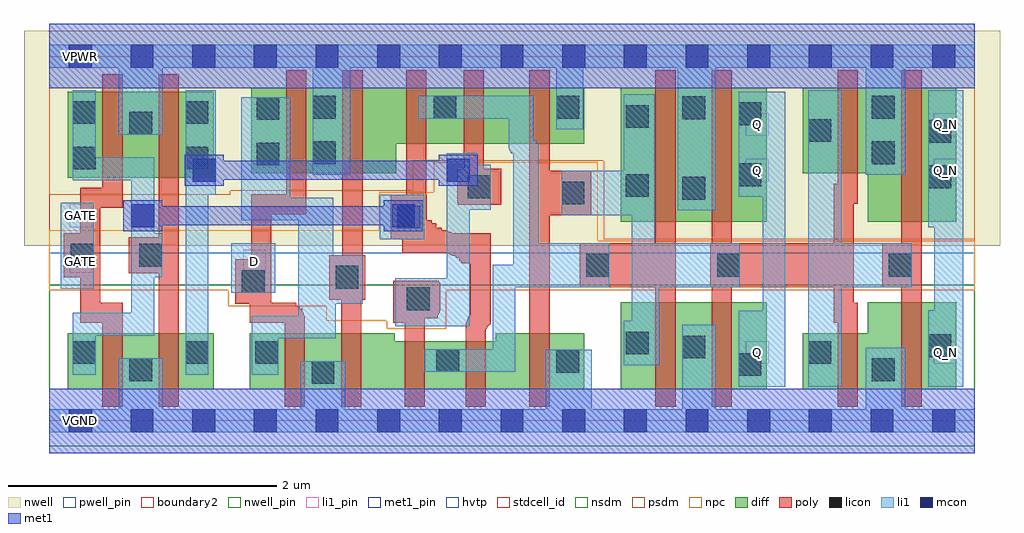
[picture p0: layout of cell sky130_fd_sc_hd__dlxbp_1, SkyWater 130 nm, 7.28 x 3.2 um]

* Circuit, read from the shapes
.subckt sky130_fd_sc_hd__dlxbp_1 D GATE Q Q_N VGND VNB VPB VPWR
XM1 VGND GATE n1 VNB sky130_fd_pr__nfet_01v8 w=0.42 l=0.15
XM2 n2 n1 VGND VNB sky130_fd_pr__nfet_01v8 w=0.42 l=0.15
XM3 VGND D n3 VNB sky130_fd_pr__nfet_01v8 w=0.42 l=0.15
XM4 n4 n3 VGND VNB sky130_fd_pr__nfet_01v8 w=0.42 l=0.15
XM5 n5 n2 n4 VNB sky130_fd_pr__nfet_01v8 w=0.36 l=0.15
XM6 n6 n1 n5 VNB sky130_fd_pr__nfet_01v8 w=0.36 l=0.15
XM7 VGND n7 n6 VNB sky130_fd_pr__nfet_01v8 w=0.42 l=0.15
XM8 VGND n5 n7 VNB sky130_fd_pr__nfet_01v8 w=0.65 l=0.15
XM9 Q n7 VGND VNB sky130_fd_pr__nfet_01v8 w=0.65 l=0.15
XM10 VGND n7 n8 VNB sky130_fd_pr__nfet_01v8 w=0.42 l=0.15
XM11 Q_N n8 VGND VNB sky130_fd_pr__nfet_01v8 w=0.65 l=0.15
XM12 VPWR GATE n1 VPB sky130_fd_pr__pfet_01v8_hvt w=0.64 l=0.15
XM13 n2 n1 VPWR VPB sky130_fd_pr__pfet_01v8_hvt w=0.64 l=0.15
XM14 VPWR D n3 VPB sky130_fd_pr__pfet_01v8_hvt w=0.64 l=0.15
XM15 n9 n3 VPWR VPB sky130_fd_pr__pfet_01v8_hvt w=0.64 l=0.15
XM16 n5 n1 n9 VPB sky130_fd_pr__pfet_01v8_hvt w=0.42 l=0.15
XM17 n10 n2 n5 VPB sky130_fd_pr__pfet_01v8_hvt w=0.42 l=0.15
XM18 VPWR n7 n10 VPB sky130_fd_pr__pfet_01v8_hvt w=0.42 l=0.15
XM19 VPWR n5 n7 VPB sky130_fd_pr__pfet_01v8_hvt w=1 l=0.15
XM20 Q n7 VPWR VPB sky130_fd_pr__pfet_01v8_hvt w=1 l=0.15
XM21 VPWR n7 n8 VPB sky130_fd_pr__pfet_01v8_hvt w=0.64 l=0.15
XM22 Q_N n8 VPWR VPB sky130_fd_pr__pfet_01v8_hvt w=1 l=0.15
.ends

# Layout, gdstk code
import gdstk
lib = gdstk.Library(unit=1e-6, precision=1e-09)
def R(c, l, rs):  # rectangles x0, y0, x1, y1
    for r in rs: c.add(gdstk.rectangle(r[:2], r[2:], *l))
def A(c, l, x, y, w, h, nx, ny, dx, dy):  # array of equal rectangles
    R(c, l, [(x+i*dx, y+j*dy, x+i*dx+w, y+j*dy+h) for i in range(nx) for j in range(ny)])
def P(c, l, *ps):  # polygons
    for p in ps: c.add(gdstk.Polygon(p, *l))
nwell_pin = (64, 16)
nwell = (64, 20)
diff = (65, 20)
poly = (66, 20)
licon = (66, 44)
li1_pin = (67, 16)
li1 = (67, 20)
mcon = (67, 44)
met1_pin = (68, 16)
met1 = (68, 20)
hvtp = (78, 44)
stdcell_id = (81, 4)
nsdm = (93, 44)
psdm = (94, 20)
npc = (95, 20)
pwell_pin = (122, 16)
boundary2 = (236, 0)

sky130_fd_sc_hd__dlxbp_1 = lib.new_cell('sky130_fd_sc_hd__dlxbp_1')
R(sky130_fd_sc_hd__dlxbp_1, nwell_pin, [(0.15,2.635,0.32,2.805), (0.15,2.635,0.32,2.805)])
R(sky130_fd_sc_hd__dlxbp_1, nwell, [(-0.19,1.305,7.09,2.91)])
R(sky130_fd_sc_hd__dlxbp_1, diff, [(0.135,0.235,1.225,0.655), (4.26,0.235,5.35,0.885), (4.26,1.485,5.35,2.485), (0.135,1.815,1.225,2.455)])
P(sky130_fd_sc_hd__dlxbp_1, diff, [(6.765,0.885),(6.105,0.885),(6.105,0.655),(5.62,0.655),(5.62,0.235),(6.765,0.235)],
  [(3.99,2.485),(1.505,2.485),(1.505,1.845),(2.585,1.845),(2.585,2.065),(3.99,2.065)],
  [(6.765,2.485),(5.62,2.485),(5.62,1.845),(6.105,1.845),(6.105,1.485),(6.765,1.485)],
  [(3.99,0.655),(3.33,0.655),(3.33,0.595),(2.575,0.595),(2.575,0.655),(1.495,0.655),(1.495,0.235),(3.99,0.235)])
P(sky130_fd_sc_hd__dlxbp_1, poly, [(0.545,0.88),(0.38,0.88),(0.38,1.59),(0.545,1.59),(0.545,2.585),(0.395,2.585),(0.395,1.74),(0.23,1.74),(0.23,1.4),(0.105,1.4),(0.105,1.07),(0.23,1.07),(0.23,0.73),(0.395,0.73),(0.395,0.105),(0.545,0.105)],
  [(0.965,2.585),(0.815,2.585),(0.815,1.37),(0.59,1.37),(0.59,1.1),(0.815,1.1),(0.815,0.105),(0.965,0.105)],
  [(1.915,2.615),(1.765,2.615),(1.765,1.69),(1.505,1.69),(1.505,1.205),(1.385,1.205),(1.385,0.875),(1.495,0.875),(1.495,0.73),(1.755,0.73),(1.755,0.105),(1.905,0.105),(1.905,0.785),(1.895,0.785),(1.895,0.805),(1.885,0.805),(1.885,0.835),(1.865,0.835),(1.865,0.855),(1.84,0.855),(1.84,0.88),(1.655,0.88),(1.655,1.54),(1.915,1.54)],
  [(2.355,1.235),(2.335,1.235),(2.335,2.615),(2.185,2.615),(2.185,1.235),(2.085,1.235),(2.085,0.905),(2.175,0.905),(2.175,0.105),(2.325,0.105),(2.325,0.905),(2.355,0.905)],
  [(2.915,1.025),(2.91,1.025),(2.91,1.035),(2.905,1.035),(2.905,1.045),(2.565,1.045),(2.565,0.73),(2.65,0.73),(2.65,0.105),(2.8,0.105),(2.8,0.765),(2.895,0.765),(2.895,0.79),(2.905,0.79),(2.905,0.805),(2.91,0.805),(2.91,0.82),(2.915,0.82)],
  [(6.505,2.615),(6.355,2.615),(6.355,1.325),(6.21,1.325),(6.21,0.995),(6.355,0.995),(6.355,0.105),(6.505,0.105)],
  [(6.03,0.88),(6,0.88),(6,1.62),(6.03,1.62),(6.03,2.615),(5.88,2.615),(5.88,1.77),(5.85,1.77),(5.85,1.325),(5.09,1.325),(5.09,2.615),(4.94,2.615),(4.94,1.325),(4.93,1.325),(4.93,0.995),(4.94,0.995),(4.94,0.105),(5.09,0.105),(5.09,0.995),(5.85,0.995),(5.85,0.73),(5.88,0.73),(5.88,0.105),(6.03,0.105)],
  [(4.67,2.615),(4.52,2.615),(4.52,1.325),(3.955,1.325),(3.955,0.995),(4.52,0.995),(4.52,0.105),(4.67,0.105)],
  [(4.04,1.865),(3.73,1.865),(3.73,2.615),(3.58,2.615),(3.58,0.105),(3.73,0.105),(3.73,1.535),(4.04,1.535)],
  [(3.37,1.88),(3.24,1.88),(3.24,2.615),(3.09,2.615),(3.09,1.88),(3.04,1.88),(3.04,1.63),(3.045,1.63),(3.045,1.62),(3.05,1.62),(3.05,1.61),(3.37,1.61)],
  [(3.29,1.4),(3,1.4),(3,1.405),(2.985,1.405),(2.985,1.41),(2.97,1.41),(2.97,1.415),(2.96,1.415),(2.96,1.42),(2.925,1.42),(2.925,1.44),(2.885,1.44),(2.885,1.475),(2.85,1.475),(2.85,1.495),(2.815,1.495),(2.815,1.685),(2.81,1.685),(2.81,2.615),(2.66,2.615),(2.66,1.685),(2.545,1.685),(2.545,1.355),(2.63,1.355),(2.63,1.255),(2.955,1.255),(2.955,1.25),(2.97,1.25),(2.97,1.245),(2.985,1.245),(2.985,1.24),(2.995,1.24),(2.995,1.235),(3.005,1.235),(3.005,1.23),(3.03,1.23),(3.03,1.215),(3.055,1.215),(3.055,1.195),(3.07,1.195),(3.07,1.175),(3.14,1.175),(3.14,0.785),(3.135,0.785),(3.135,0.78),(3.125,0.78),(3.125,0.765),(3.12,0.765),(3.12,0.755),(3.115,0.755),(3.115,0.74),(3.11,0.74),(3.11,0.725),(3.105,0.725),(3.105,0.105),(3.255,0.105),(3.255,0.685),(3.26,0.685),(3.26,0.695),(3.265,0.695),(3.265,0.7),(3.27,0.7),(3.27,0.71),(3.275,0.71),(3.275,0.715),(3.285,0.715),(3.285,0.72),(3.29,0.72)])
R(sky130_fd_sc_hd__dlxbp_1, licon, [(1.955,0.275,2.125,0.445), (0.595,0.295,0.765,0.465), (6.135,0.295,6.305,0.465), (5.14,0.335,5.31,0.505), (3.78,0.36,3.95,0.53), (2.885,0.365,3.055,0.535), (0.175,0.425,0.345,0.595), (1.015,0.425,1.185,0.595), (1.535,0.425,1.705,0.595), (5.66,0.425,5.83,0.595), (4.72,0.465,4.89,0.635), (6.555,0.475,6.725,0.645), (4.3,0.495,4.47,0.665), (2.665,0.825,2.835,0.995), (1.435,0.955,1.605,1.125), (2.135,0.985,2.305,1.155), (4.005,1.075,4.175,1.245), (4.98,1.075,5.15,1.245), (6.26,1.075,6.43,1.245), (0.16,1.15,0.33,1.32), (0.67,1.15,0.84,1.32), (2.595,1.435,2.765,1.605), (3.82,1.615,3.99,1.785), (4.72,1.65,4.89,1.82), (3.12,1.66,3.29,1.83), (4.3,1.67,4.47,1.84), (6.555,1.735,6.725,1.905), (5.14,1.75,5.31,1.92), (0.175,1.875,0.345,2.045), (1.015,1.875,1.185,2.045), (1.545,1.905,1.715,2.075), (1.965,1.915,2.135,2.085), (6.135,1.915,6.305,2.085), (6.555,2.075,6.725,2.245), (5.66,2.08,5.83,2.25), (0.595,2.135,0.765,2.305), (4.3,2.185,4.47,2.355), (5.14,2.205,5.31,2.375), (0.175,2.215,0.345,2.385), (1.015,2.215,1.185,2.385), (1.545,2.245,1.715,2.415), (4.72,2.25,4.89,2.42), (1.965,2.255,2.135,2.425), (2.865,2.255,3.035,2.425), (3.78,2.255,3.95,2.425), (6.135,2.255,6.305,2.425)])
R(sky130_fd_sc_hd__dlxbp_1, li1_pin, [(5.195,0.425,5.365,0.595), (6.595,0.425,6.765,0.595), (0.15,1.105,0.32,1.275), (1.445,1.105,1.615,1.275), (0.15,1.445,0.32,1.615), (5.195,1.785,5.365,1.955), (6.595,1.785,6.765,1.955), (5.195,2.125,5.365,2.295), (6.595,2.125,6.765,2.295)])
R(sky130_fd_sc_hd__dlxbp_1, li1, [(1.355,0.955,1.685,1.325), (0.085,0.985,0.33,1.625), (2.465,1.355,2.795,1.685)])
P(sky130_fd_sc_hd__dlxbp_1, li1, [(6.9,0.085),(6.385,0.085),(6.385,0.545),(6.09,0.545),(6.09,0.085),(4.97,0.085),(4.97,0.715),(4.72,0.715),(4.72,0.085),(4.045,0.085),(4.045,0.53),(3.7,0.53),(3.7,0.085),(2.205,0.085),(2.205,0.445),(1.875,0.445),(1.875,0.085),(0.845,0.085),(0.845,0.465),(0.515,0.465),(0.515,0.085),(0,0.085),(0,-0.085),(6.9,-0.085)],
  [(0.84,1.4),(0.78,1.4),(0.78,1.965),(0.345,1.965),(0.345,2.465),(0.175,2.465),(0.175,1.795),(0.61,1.795),(0.61,0.805),(0.175,0.805),(0.175,0.345),(0.345,0.345),(0.345,0.635),(0.78,0.635),(0.78,1.07),(0.84,1.07)],
  [(1.24,2.465),(1.015,2.465),(1.015,0.345),(1.185,0.345),(1.185,1.685),(1.24,1.685)],
  [(2.335,1.235),(2.115,1.235),(2.115,1.665),(1.795,1.665),(1.795,2.415),(1.43,2.415),(1.43,1.495),(1.855,1.495),(1.855,0.785),(1.51,0.785),(1.51,0.345),(1.705,0.345),(1.705,0.615),(2.135,0.615),(2.135,0.875),(2.335,0.875)],
  [(3.29,1.91),(3.195,1.91),(3.195,1.995),(2.965,1.995),(2.965,1.065),(2.58,1.065),(2.58,0.705),(3.135,0.705),(3.135,1.575),(3.29,1.575)],
  [(6.9,2.805),(0,2.805),(0,2.635),(0.515,2.635),(0.515,2.135),(0.845,2.135),(0.845,2.635),(1.965,2.635),(1.965,1.835),(2.245,1.835),(2.245,2.635),(3.78,2.635),(3.78,2.175),(3.98,2.175),(3.98,2.635),(4.685,2.635),(4.685,1.57),(4.97,1.57),(4.97,2.635),(6.09,2.635),(6.09,1.835),(6.385,1.835),(6.385,2.635),(6.9,2.635)],
  [(6.815,2.465),(6.555,2.465),(6.555,1.445),(6.6,1.445),(6.6,0.825),(6.555,0.825),(6.555,0.255),(6.815,0.255)],
  [(4.175,1.325),(3.65,1.325),(3.65,2.065),(3.63,2.065),(3.63,2.09),(3.61,2.09),(3.61,2.425),(2.75,2.425),(2.75,2.255),(3.425,2.255),(3.425,2.035),(3.43,2.035),(3.43,2.02),(3.435,2.02),(3.435,2.01),(3.44,2.01),(3.44,1.995),(3.46,1.995),(3.46,1.165),(3.305,1.165),(3.305,0.535),(2.8,0.535),(2.8,0.365),(3.475,0.365),(3.475,0.995),(4.175,0.995)],
  [(5.15,1.325),(4.515,1.325),(4.515,2.435),(4.285,2.435),(4.285,1.865),(3.82,1.865),(3.82,1.535),(4.345,1.535),(4.345,0.745),(4.285,0.745),(4.285,0.415),(4.55,0.415),(4.55,0.995),(5.15,0.995)],
  [(5.49,2.455),(5.14,2.455),(5.14,1.67),(5.32,1.67),(5.32,0.82),(5.14,0.82),(5.14,0.255),(5.49,0.255)],
  [(6.43,1.325),(5.91,1.325),(5.91,2.465),(5.66,2.465),(5.66,0.255),(5.91,0.255),(5.91,0.995),(6.43,0.995)])
A(sky130_fd_sc_hd__dlxbp_1, mcon, 0.145, -0.085, 0.17, 0.17, 15, 2, 0.46, 2.72)
R(sky130_fd_sc_hd__dlxbp_1, mcon, [(0.61,1.445,0.78,1.615), (2.555,1.445,2.725,1.615), (1.07,1.785,1.24,1.955), (2.965,1.785,3.135,1.955)])
R(sky130_fd_sc_hd__dlxbp_1, met1_pin, [(0.15,-0.085,0.32,0.085), (0.15,2.635,0.32,2.805)])
P(sky130_fd_sc_hd__dlxbp_1, met1, [(2.785,1.645),(2.495,1.645),(2.495,1.6),(0.84,1.6),(0.84,1.645),(0.55,1.645),(0.55,1.415),(0.84,1.415),(0.84,1.46),(2.495,1.46),(2.495,1.415),(2.785,1.415)],
  [(3.195,1.985),(2.905,1.985),(2.905,1.94),(1.3,1.94),(1.3,1.985),(1.01,1.985),(1.01,1.755),(1.3,1.755),(1.3,1.8),(2.905,1.8),(2.905,1.755),(3.195,1.755)])
R(sky130_fd_sc_hd__dlxbp_1, hvtp, [(0,1.25,6.9,2.72)])
R(sky130_fd_sc_hd__dlxbp_1, stdcell_id, [(0,0,6.9,2.72)])
R(sky130_fd_sc_hd__dlxbp_1, nsdm, [(0,-0.19,6.9,1.015)])
P(sky130_fd_sc_hd__dlxbp_1, psdm, [(6.9,2.91),(0,2.91),(0,1.685),(1.35,1.685),(1.35,1.715),(2.715,1.715),(2.715,1.94),(4.135,1.94),(4.135,1.355),(6.9,1.355)])
P(sky130_fd_sc_hd__dlxbp_1, npc, [(6.9,1.345),(4.09,1.345),(4.09,1.93),(2.865,1.93),(2.865,1.705),(2.46,1.705),(2.46,1.42),(0,1.42),(0,0.975),(1.335,0.975),(1.335,0.855),(2.065,0.855),(2.065,0.745),(2.515,0.745),(2.515,0.685),(2.96,0.685),(2.96,0.975),(6.9,0.975)])
R(sky130_fd_sc_hd__dlxbp_1, pwell_pin, [(0.15,-0.085,0.32,0.085), (0.15,-0.085,0.32,0.085)])
R(sky130_fd_sc_hd__dlxbp_1, boundary2, [(0,0,6.9,2.72)])
sky130_fd_sc_hd__dlxbp_1.add(gdstk.FlexPath([(0,2.72),(6.9,2.72)], 0.48, ends="flush", simple_path=True, layer=68, datatype=20))  # met1
sky130_fd_sc_hd__dlxbp_1.add(gdstk.FlexPath([(0,0),(6.9,0)], 0.48, ends="flush", simple_path=True, layer=68, datatype=20))  # met1
sky130_fd_sc_hd__dlxbp_1.add(gdstk.Label('D', (1.53,1.19), layer=67, texttype=5))
sky130_fd_sc_hd__dlxbp_1.add(gdstk.Label('GATE', (0.23,1.19), layer=67, texttype=5))
sky130_fd_sc_hd__dlxbp_1.add(gdstk.Label('Q', (5.28,1.87), layer=67, texttype=5))
sky130_fd_sc_hd__dlxbp_1.add(gdstk.Label('GATE', (0.23,1.53), layer=67, texttype=5))
sky130_fd_sc_hd__dlxbp_1.add(gdstk.Label('Q', (5.28,2.21), layer=67, texttype=5))
sky130_fd_sc_hd__dlxbp_1.add(gdstk.Label('Q', (5.28,0.51), layer=67, texttype=5))
sky130_fd_sc_hd__dlxbp_1.add(gdstk.Label('Q_N', (6.68,2.21), layer=67, texttype=5))
sky130_fd_sc_hd__dlxbp_1.add(gdstk.Label('Q_N', (6.68,1.87), layer=67, texttype=5))
sky130_fd_sc_hd__dlxbp_1.add(gdstk.Label('Q_N', (6.68,0.51), layer=67, texttype=5))
sky130_fd_sc_hd__dlxbp_1.add(gdstk.Label('VGND', (0.23,0), layer=68, texttype=5))
sky130_fd_sc_hd__dlxbp_1.add(gdstk.Label('VPWR', (0.23,2.72), layer=68, texttype=5))
sky130_fd_sc_hd__dlxbp_1.add(gdstk.Label('VPB', (0.235,2.72), layer=64, texttype=5))
sky130_fd_sc_hd__dlxbp_1.add(gdstk.Label('VPB', (0.235,2.72), layer=64, texttype=5))
sky130_fd_sc_hd__dlxbp_1.add(gdstk.Label('VNB', (0.235,0), layer=64, texttype=59))
sky130_fd_sc_hd__dlxbp_1.add(gdstk.Label('VNB', (0.235,0), layer=64, texttype=59))
sky130_fd_sc_hd__dlxbp_1.add(gdstk.Label('dlxbp_1', (0,0), layer=83, texttype=44))

lib.write_gds('sky130_fd_sc_hd__dlxbp_1.gds')
